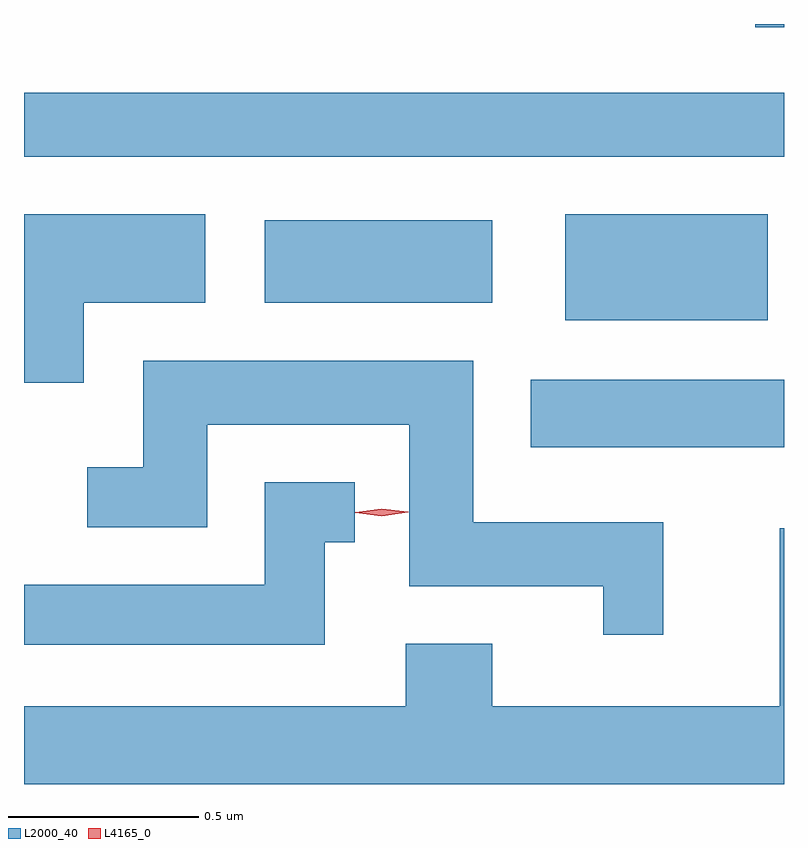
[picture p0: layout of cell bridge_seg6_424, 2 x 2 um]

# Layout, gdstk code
import gdstk
lib = gdstk.Library(unit=1e-6, precision=1e-09)
def R(c, l, rs):  # rectangles x0, y0, x1, y1
    for r in rs: c.add(gdstk.rectangle(r[:2], r[2:], *l))
def P(c, l, *ps):  # polygons
    for p in ps: c.add(gdstk.Polygon(p, *l))
L2000_40 = (2000, 40)
L4165_0 = (4165, 0)

bridge_seg6_424 = lib.new_cell('bridge_seg6_424')
R(bridge_seg6_424, L2000_40, [(926.781,1653.106,927.447,1653.284), (926.871,1653.441,927.404,1653.719), (926.081,1653.486,926.679,1653.704), (925.447,1653.871,927.447,1654.039), (927.371,1654.211,927.447,1654.22)])
P(bridge_seg6_424, L2000_40, [(925.604,1653.486),(925.924,1653.486),(925.924,1653.719),(925.447,1653.719),(925.447,1653.276),(925.604,1653.276)],
  [(927.129,1652.909),(926.629,1652.909),(926.629,1653.334),(925.761,1653.334),(925.761,1653.054),(925.613,1653.054),(925.613,1652.896),(925.929,1652.896),(925.929,1653.166),(926.461,1653.166),(926.461,1652.741),(926.971,1652.741),(926.971,1652.613),(927.129,1652.613)],
  [(926.239,1652.856),(926.318,1652.856),(926.318,1653.014),(926.081,1653.014),(926.081,1652.744),(925.447,1652.744),(925.447,1652.586),(926.239,1652.586)],
  [(927.447,1652.893),(927.436,1652.893),(927.436,1652.424),(926.679,1652.424),(926.679,1652.589),(926.451,1652.589),(926.451,1652.424),(925.447,1652.424),(925.447,1652.22),(927.447,1652.22)])
P(bridge_seg6_424, L4165_0, [(926.388,1652.925),(926.319,1652.934),(926.319,1652.935),(926.319,1652.935),(926.388,1652.945),(926.458,1652.936),(926.458,1652.936),(926.458,1652.935)])

lib.write_gds('bridge_seg6_424.gds')
